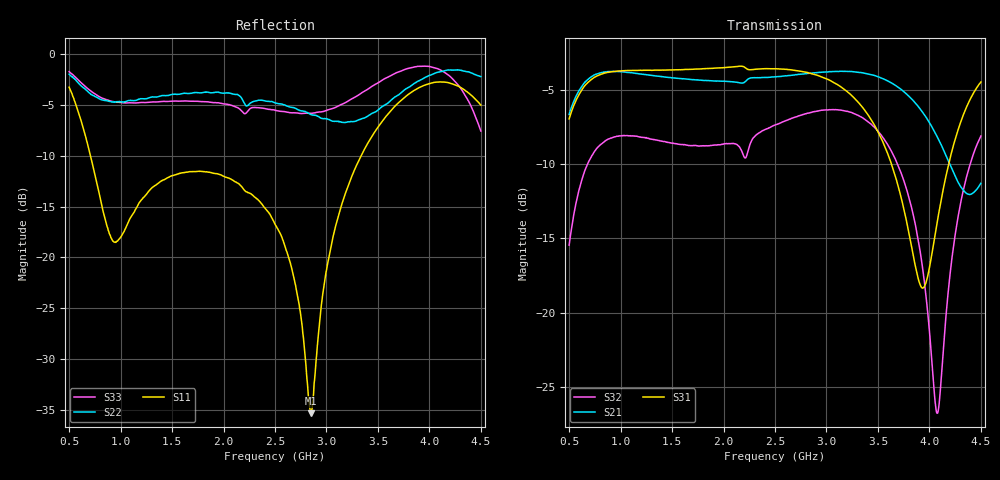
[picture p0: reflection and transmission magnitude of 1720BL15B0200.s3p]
!Port1 is connected to pin#1 of device
!Port2 is connected to pin#3 of device
!Port3 is connected to pin#4 of device
!Agilent Technologies,E5071C,MY46103155,A.09.54
!Date: Thu Nov 26 17:36:30 2015
!Data & Calibration Information:
!Freq	S11:SOLT3(ON)	S12:SOLT3(ON)	S13:SOLT3(ON)
!	S21:SOLT3(ON)	S22:SOLT3(ON)	S23:SOLT3(ON)
!	S31:SOLT3(ON)	S32:SOLT3(ON)	S33:SOLT3(ON)
# Hz S dB R 50
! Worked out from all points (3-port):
!   801 points, 500 MHz to 4.5 GHz, reference 50 ohm
!   strongest paths, dB at 500 MHz, 1.5 GHz, 2.5 GHz, 3.5 GHz, 4.5 GHz:
!     S31: -6.9, -3.6, -3.6, -7.8, -4.5
!     S21: -6.6, -4.2, -4.1, -4.1, -11.3
!     S32: -15.5, -8.6, -7.4, -7.8, -8.1
!   lowest |S11| = -35.4 dB at 2.845 GHz (marker M1), VSWR 1.03, Z = 48.5 - j0.694 ohm
!   |S11| at or under -10 dB: 708.7 MHz to 3.336 GHz (2.628 GHz wide, 130 % of centre)
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5e8  -3.23 -92.3  -6.63 70.9  -6.92 -111.4
     -6.64 70.8  -1.94 68.9  -15.46 101.1
     -6.94 -111.4  -15.46 101.2  -1.70 61.4
1.005e9  -17.93 94.4  -3.74 -12.3  -3.69 163.0
         -3.76 -12.2  -4.66 39.0  -8.09 34.0
         -3.70 163.0  -8.08 33.9  -4.74 28.1
1.71e9  -11.54 -0.2  -4.28 -73.0  -3.57 102.8
        -4.29 -73.0  -3.77 13.2  -8.74 6.5
        -3.58 102.8  -8.73 6.5  -4.60 5.7
2.5e9  -16.73 -54.0  -4.09 -133.1  -3.55 48.5
       -4.10 -133.1  -4.75 -12.6  -7.35 -4.0
       -3.56 48.6  -7.36 -3.9  -5.49 -10.0
2.845e9  -35.35 -155.2  -3.84 -162.2  -3.86 23.4
         -3.86 -162.2  -5.91 -19.2  -6.51 -17.7
         -3.87 23.5  -6.51 -17.5  -5.80 -9.9
3e9  -21.26 106.0  -3.76 -176.1  -4.23 11.5
     -3.77 -176.1  -6.31 -18.7  -6.34 -25.6
     -4.24 11.5  -6.33 -25.5  -5.52 -8.7
3.245e9  -12.04 77.4  -3.73 160.8  -5.36 -8.3
         -3.74 160.8  -6.61 -13.0  -6.51 -40.6
         -5.37 -8.2  -6.51 -40.6  -4.38 -8.2
3.79e9  -3.97 22.2  -5.33 107.1  -14.25 -38.3
        -5.34 107.1  -3.28 -11.8  -11.97 -81.3
        -14.26 -38.3  -11.97 -81.2  -1.39 -30.9
4.075e9  -2.72 -8.5  -8.12 84.1  -13.92 31.5
         -8.14 84.0  -1.77 -25.7  -26.79 -33.9
         -13.93 31.6  -26.80 -33.7  -1.39 -56.3
4.5e9  -4.99 -50.1  -11.26 100.2  -4.45 -0.0
       -11.28 100.2  -2.18 -53.8  -8.10 -1.7
       -4.45 0.1  -8.09 -1.6  -7.55 -103.3
